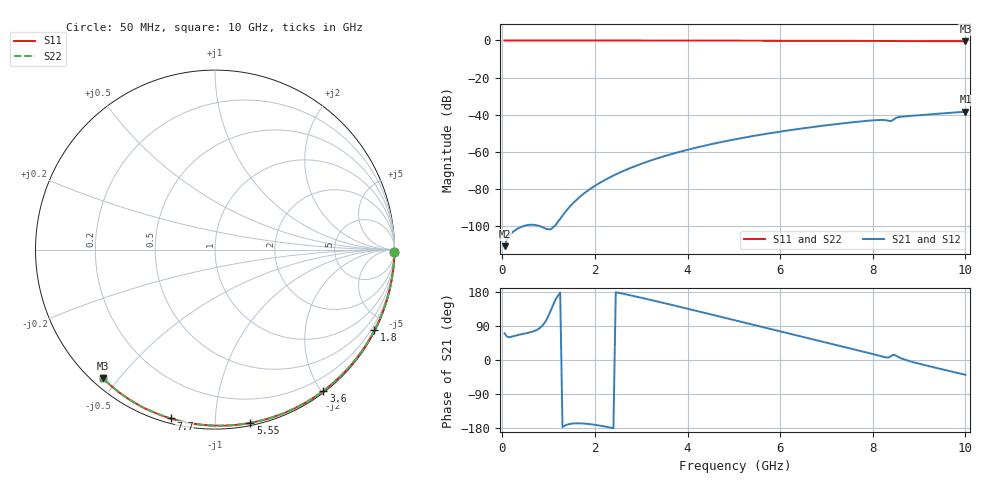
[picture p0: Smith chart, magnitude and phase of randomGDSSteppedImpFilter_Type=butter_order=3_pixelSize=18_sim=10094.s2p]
! freq	dB(S11)	phase(S11)	dB(S12)	phase(S12)
!  dB(S21)	phase(S21)	dB(S22)	phase(S22)
!S-par simulation data
#  GHz  S  DB  R 50
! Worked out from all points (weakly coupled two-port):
!   200 points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, 50 MHz to 10 GHz, reference 50 ohm
!   highest |S21| = -38.41 dB at 10 GHz (marker M1); lowest = -110.9 dB at 50 MHz (marker M2)
!   lowest |S11| = -0.4 dB at 10 GHz (marker M3), VSWR 39.56, Z = 1.53 - j22.7 ohm
!   |S11| at or under -10 dB: nowhere
!   |S22| runs from -0.4 to 0.0 dB; largest |S21 - S12| = 0
!   S11 on the Smith chart (normalised r, x): 50 MHz: open; 1.8 GHz: 0.04, -4.19; 3.6 GHz: 0.02, -2.03; 5.55 GHz: 0.02, -1.22; 7.7 GHz: 0.02, -0.77; 10 GHz: 0.03, -0.45
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0.05  -0.00 -0.8  -110.86 70.2  -110.86 70.2  -0.00 -0.8
0.9  -0.02 -13.6  -101.05 96.0  -101.05 96.0  -0.02 -13.6
1.75  -0.03 -26.1  -82.74 -167.6  -82.74 -167.6  -0.03 -26.1
1.8  -0.03 -26.9  -81.78 -168.1  -81.78 -168.1  -0.03 -26.9
1.9  -0.04 -28.3  -79.99 -169.4  -79.99 -169.4  -0.04 -28.3
2.25  -0.04 -33.4  -74.71 -176.3  -74.71 -176.3  -0.04 -33.4
2.65  -0.05 -39.2  -69.94 173.8  -69.94 173.8  -0.05 -39.2
3  -0.06 -44.1  -66.50 164.3  -66.50 164.3  -0.06 -44.1
3.4  -0.07 -49.7  -63.13 152.9  -63.13 152.9  -0.07 -49.7
3.6  -0.07 -52.5  -61.63 147.1  -61.63 147.1  -0.07 -52.5
4.3  -0.09 -62.1  -57.09 126.4  -57.09 126.4  -0.09 -62.1
5.05  -0.11 -72.0  -53.16 104.0  -53.16 104.0  -0.11 -72.0
5.55  -0.13 -78.4  -50.93 89.1  -50.93 89.1  -0.13 -78.4
6.7  -0.18 -92.8  -46.66 54.9  -46.66 54.9  -0.18 -92.8
7.7  -0.24 -104.8  -43.73 25.1  -43.73 25.1  -0.24 -104.8
8.15  -0.27 -110.0  -42.85 10.9  -42.85 10.9  -0.27 -110.0
8.25  -0.28 -111.1  -42.90 7.7  -42.90 7.7  -0.28 -111.2
8.35  -0.29 -112.3  -43.34 6.9  -43.34 6.9  -0.29 -112.3
8.4  -0.29 -112.8  -43.43 10.8  -43.43 10.8  -0.29 -112.8
8.5  -0.29 -114.0  -41.77 11.7  -41.77 11.7  -0.29 -114.0
8.6  -0.30 -115.2  -41.15 5.2  -41.15 5.2  -0.30 -115.2
10  -0.44 -131.0  -38.41 -38.9  -38.41 -38.9  -0.44 -131.0
